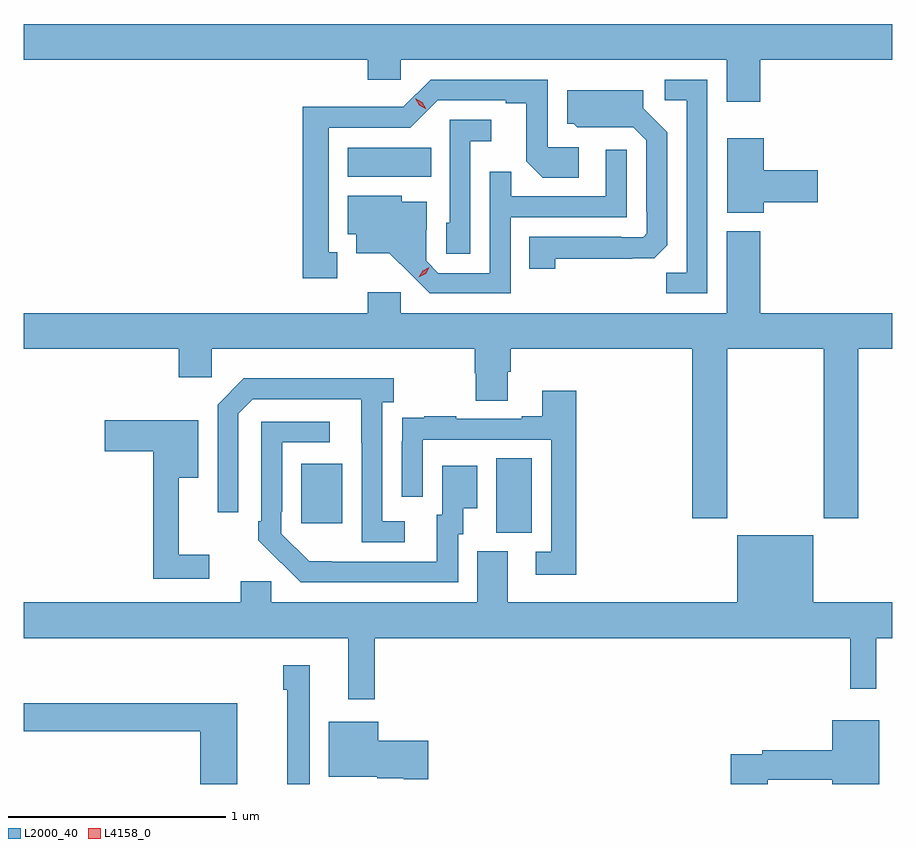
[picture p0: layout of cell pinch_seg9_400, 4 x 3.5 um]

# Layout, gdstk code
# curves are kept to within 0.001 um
import gdstk
lib = gdstk.Library(unit=1e-6, precision=1e-09)
def R(c, l, rs):  # rectangles x0, y0, x1, y1
    for r in rs: c.add(gdstk.rectangle(r[:2], r[2:], *l))
def P(c, l, *ps):  # polygons
    for p in ps: c.add(gdstk.Polygon(p, *l))
L2000_40 = (2000, 40)
L4158_0 = (4158, 0)

pinch_seg9_400 = lib.new_cell('pinch_seg9_400')
R(pinch_seg9_400, L2000_40, [(233.738,1222.213,233.902,1222.556), (232.841,1222.257,233.029,1222.531), (233.054,1223.852,233.438,1223.986)])
P(pinch_seg9_400, L2000_40, [(234.953,1224.392),(235.562,1224.392),(235.562,1224.556),(231.562,1224.556),(231.562,1224.392),(233.147,1224.392),(233.147,1224.299),(233.298,1224.299),(233.298,1224.392),(234.8,1224.392),(234.8,1224.198),(234.953,1224.198)],
  [(234.711,1224.3),(234.513,1224.3),(234.513,1224.204),(234.615,1224.204),(234.615,1223.411),(234.52,1223.411),(234.52,1223.316),(234.711,1223.316)],
  [(233.005,1223.505),(232.966,1223.505),(232.966,1224.078),(233.343,1224.078),(233.469,1224.204),(233.783,1224.204),(233.783,1224.192),(233.877,1224.192),(233.877,1223.924),(233.953,1223.848),(234.118,1223.848),(234.118,1223.988),(233.976,1223.988),(233.976,1224.3),(233.436,1224.3),(233.31,1224.174),(233.088,1224.174),(233.088,1224.176),(232.848,1224.176),(232.848,1223.385),(233.005,1223.385)],
  [(234.009,1223.476),(234.466,1223.477),(234.525,1223.536),(234.525,1224.058),(234.415,1224.168),(234.415,1224.25),(234.065,1224.25),(234.065,1224.096),(234.096,1224.096),(234.112,1224.08),(234.369,1224.081),(234.429,1224.021),(234.429,1223.692),(234.432,1223.692),(234.432,1223.592),(234.414,1223.574),(234.314,1223.574),(234.314,1223.577),(233.89,1223.577),(233.89,1223.43),(234.009,1223.43)],
  [(233.619,1224.017),(233.716,1224.017),(233.716,1224.114),(233.523,1224.114),(233.523,1223.64),(233.508,1223.64),(233.508,1223.497),(233.619,1223.497)],
  [(234.97,1223.735),(235.219,1223.735),(235.219,1223.882),(234.97,1223.882),(234.97,1224.031),(234.803,1224.031),(234.803,1223.687),(234.97,1223.687)],
  [(233.805,1223.667),(234.339,1223.667),(234.339,1223.977),(234.243,1223.977),(234.243,1223.763),(233.807,1223.763),(233.807,1223.876),(233.709,1223.876),(233.709,1223.409),(233.472,1223.409),(233.415,1223.466),(233.415,1223.608),(233.419,1223.608),(233.419,1223.737),(233.304,1223.737),(233.304,1223.764),(233.054,1223.764),(233.054,1223.588),(233.093,1223.588),(233.093,1223.501),(233.245,1223.501),(233.432,1223.316),(233.805,1223.316)],
  [(234.801,1223.06),(235.246,1223.06),(235.246,1222.281),(235.406,1222.281),(235.406,1223.06),(235.562,1223.06),(235.562,1223.224),(234.953,1223.224),(234.953,1223.602),(234.8,1223.602),(234.8,1223.224),(233.298,1223.224),(233.298,1223.32),(233.147,1223.32),(233.147,1223.224),(231.562,1223.224),(231.562,1223.06),(232.277,1223.06),(232.277,1222.929),(232.428,1222.929),(232.428,1223.06),(233.639,1223.06),(233.639,1222.947),(233.644,1222.947),(233.644,1222.822),(233.791,1222.822),(233.791,1222.954),(233.804,1222.954),(233.804,1223.06),(234.641,1223.06),(234.641,1222.281),(234.801,1222.281)],
  [(233.317,1222.266),(233.214,1222.266),(233.214,1222.814),(233.266,1222.814),(233.266,1222.924),(232.576,1222.924),(232.455,1222.803),(232.455,1222.308),(232.551,1222.308),(232.551,1222.761),(232.617,1222.827),(233.117,1222.827),(233.118,1222.17),(233.317,1222.17)],
  [(234.107,1222.867),(233.951,1222.867),(233.951,1222.75),(233.855,1222.75),(233.855,1222.737),(233.555,1222.737),(233.555,1222.75),(233.407,1222.75),(233.407,1222.743),(233.305,1222.743),(233.305,1222.634),(233.304,1222.634),(233.304,1222.38),(233.4,1222.38),(233.4,1222.641),(233.991,1222.641),(233.991,1222.125),(233.919,1222.125),(233.919,1222.02),(234.107,1222.02)],
  [(232.417,1222.111),(232.277,1222.111),(232.277,1222.466),(232.366,1222.466),(232.366,1222.731),(231.936,1222.731),(231.936,1222.589),(232.159,1222.589),(232.159,1222.002),(232.417,1222.002)],
  [(233.562,1222.206),(233.587,1222.206),(233.587,1222.325),(233.65,1222.325),(233.65,1222.522),(233.489,1222.522),(233.489,1222.296),(233.465,1222.296),(233.465,1222.08),(232.878,1222.081),(232.749,1222.209),(232.749,1222.309),(232.752,1222.309),(232.752,1222.629),(232.972,1222.629),(232.972,1222.725),(232.656,1222.725),(232.656,1222.267),(232.641,1222.267),(232.641,1222.179),(232.838,1221.984),(233.562,1221.984)],
  [(233.179,1221.728),(235.369,1221.728),(235.369,1221.495),(235.487,1221.495),(235.487,1221.728),(235.562,1221.728),(235.562,1221.892),(235.198,1221.892),(235.198,1222.201),(234.848,1222.201),(234.848,1221.892),(233.791,1221.892),(233.791,1222.128),(233.651,1222.128),(233.651,1221.892),(232.701,1221.892),(232.701,1221.99),(232.562,1221.99),(232.562,1221.892),(231.562,1221.892),(231.562,1221.728),(233.057,1221.728),(233.057,1221.447),(233.179,1221.447)],
  [(232.879,1221.604),(232.758,1221.604),(232.758,1221.491),(232.775,1221.491),(232.775,1221.056),(232.879,1221.056)],
  [(232.546,1221.427),(231.562,1221.427),(231.562,1221.298),(232.376,1221.298),(232.376,1221.056),(232.546,1221.056)],
  [(234.988,1221.076),(235.286,1221.076),(235.286,1221.056),(235.501,1221.056),(235.501,1221.349),(235.286,1221.349),(235.286,1221.212),(234.964,1221.212),(234.964,1221.192),(234.818,1221.192),(234.818,1221.056),(234.988,1221.056)],
  [(233.425,1221.255),(233.194,1221.255),(233.194,1221.343),(232.967,1221.343),(232.967,1221.089),(233.19,1221.089),(233.19,1221.083),(233.312,1221.083),(233.312,1221.077),(233.425,1221.077)])
P(pinch_seg9_400, L4158_0, [(233.382,1223.389),(233.382,1223.39),(233.399,1223.42),(233.43,1223.435),(233.43,1223.435),(233.43,1223.435),(233.413,1223.405),(233.382,1223.389)],
  [(233.415,1224.164),(233.383,1224.182),(233.365,1224.215),(233.365,1224.215),(233.365,1224.215),(233.397,1224.196),(233.415,1224.164),(233.415,1224.164)])

lib.write_gds('pinch_seg9_400.gds')
